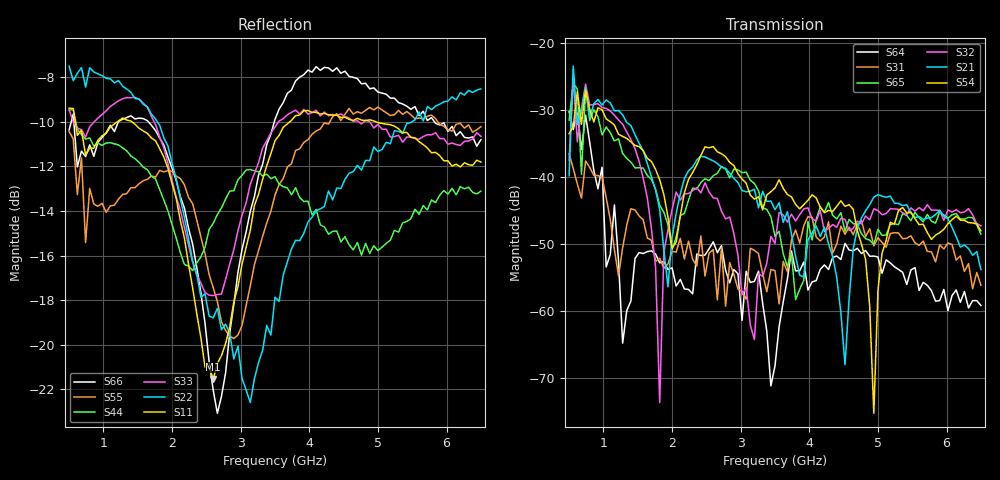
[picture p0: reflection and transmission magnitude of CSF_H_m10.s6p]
!Keysight Technologies,M9804A,MY58100912,A.14.10.03
!Date: Thursday, April 27, 2023 10:28:33
!Correction: S11(C  6-Port  )
!S12(C  6-Port  )
!S13(C  6-Port  )
!S14(C  6-Port  )
!S15(C  6-Port  )
!S16(C  6-Port  )
!S21(C  6-Port  )
!S22(C  6-Port  )
!S23(C  6-Port  )
!S24(C  6-Port  )
!S25(C  6-Port  )
!S26(C  6-Port  )
!S31(C  6-Port  )
!S32(C  6-Port  )
!S33(C  6-Port  )
!S34(C  6-Port  )
!S35(C  6-Port  )
!S36(C  6-Port  )
!S41(C  6-Port  )
!S42(C  6-Port  )
!S43(C  6-Port  )
!S44(C  6-Port  )
!S45(C  6-Port  )
!S46(C  6-Port  )
!S51(C  6-Port  )
!S52(C  6-Port  )
!S53(C  6-Port  )
!S54(C  6-Port  )
!S55(C  6-Port  )
!S56(C  6-Port  )
!S61(C  6-Port  )
!S62(C  6-Port  )
!S63(C  6-Port  )
!S64(C  6-Port  )
!S65(C  6-Port  )
!S66(C  6-Port  )
!S6P File: Measurement: :
# Hz S  RI  R 50
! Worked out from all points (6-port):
!   101 points, 500 MHz to 6.5 GHz, reference 50 ohm
!   strongest paths, dB at 500 MHz, 2 GHz, 3.5 GHz, 5 GHz, 6.5 GHz:
!     S54: -33.5, -50.6, -41.6, -56.9, -48.0
!     S21: -39.8, -49.0, -44.8, -42.6, -53.8
!     S32: -37.5, -44.9, -49.9, -45.0, -47.3
!     S65: -31.4, -50.9, -48.8, -47.8, -48.5
!     S31: -36.5, -51.1, -54.0, -49.1, -56.1
!     S64: -30.2, -53.6, -68.2, -51.9, -59.2
!   lowest |S11| = -21.5 dB at 2.6 GHz (marker M1), VSWR 1.18, Z = 42.6 + j2.18 ohm
!   |S11| at or under -10 dB: 590.1 MHz to 1.2 GHz (610.3 MHz wide, 68.2 % of centre); 1.417 GHz to 3.713 GHz (2.296 GHz wide, 89.5 % of centre); 4.976 GHz to end of sweep
